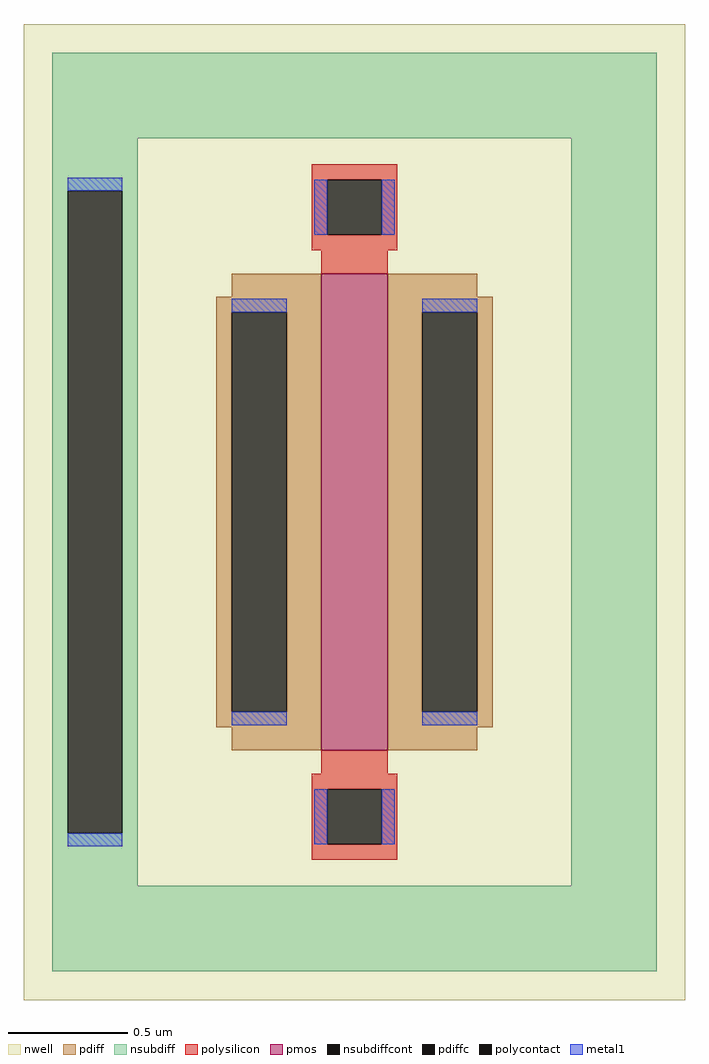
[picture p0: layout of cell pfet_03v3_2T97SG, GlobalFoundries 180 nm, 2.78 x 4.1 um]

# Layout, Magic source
magic
tech gf180mcuD
magscale 1 10
<< nwell >>
rect -278 -410 278 410
<< pmos >>
rect -28 -200 28 200
<< pdiff >>
rect -103 181 -28 200
rect -116 168 -28 181
rect -116 -168 -103 168
rect -57 -168 -28 168
rect -116 -181 -28 -168
rect -103 -200 -28 -181
rect 28 181 103 200
rect 28 168 116 181
rect 28 -168 57 168
rect 103 -168 116 168
rect 28 -181 116 -168
rect 28 -200 103 -181
<< pdiffc >>
rect -103 -168 -57 168
rect 57 -168 103 168
<< nsubdiff >>
rect -254 314 254 386
rect -254 270 -182 314
rect -254 -270 -241 270
rect -195 -270 -182 270
rect -254 -314 -182 -270
rect 182 -314 254 314
rect -254 -386 254 -314
<< nsubdiffcont >>
rect -241 -270 -195 270
<< polysilicon >>
rect -36 279 36 292
rect -36 233 -23 279
rect 23 233 36 279
rect -36 220 36 233
rect -28 200 28 220
rect -28 -220 28 -200
rect -36 -233 36 -220
rect -36 -279 -23 -233
rect 23 -279 36 -233
rect -36 -292 36 -279
<< polycontact >>
rect -23 233 23 279
rect -23 -279 23 -233
<< metal1 >>
rect -241 270 -195 281
rect -34 233 -23 279
rect 23 233 34 279
rect -103 168 -57 179
rect -103 -179 -57 -168
rect 57 168 103 179
rect 57 -179 103 -168
rect -241 -281 -195 -270
rect -34 -279 -23 -233
rect 23 -279 34 -233
<< properties >>
string FIXED_BBOX -218 -350 218 350
string gencell pfet_03v3
string library gf180mcu
string parameters w 2 l 0.280 m 1 nf 1 diffcov 90 polycov 100 guard 1 glc 1 grc 0 gtc 0 gbc 0 tbcov 100 rlcov 100 topc 1 botc 1 poverlap 0 doverlap 0 lmin 0.28 wmin 0.22 class mosfet full_metal 0 compatible {pfet_03v3 pfet_05v0 pfet_06v0}
<< end >>
